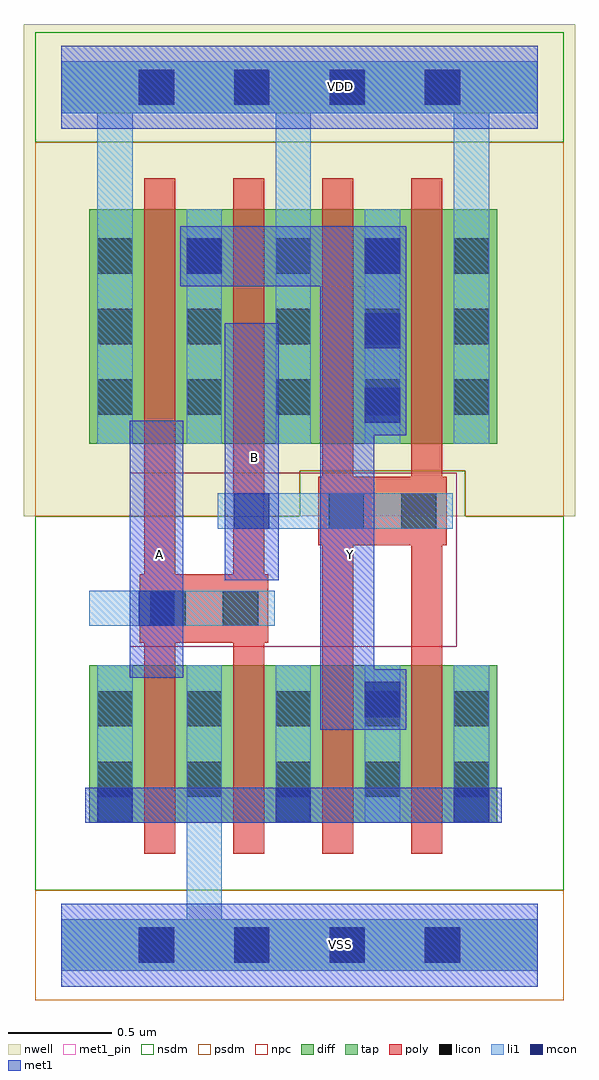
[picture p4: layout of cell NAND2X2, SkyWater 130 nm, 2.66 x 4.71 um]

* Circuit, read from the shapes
.subckt NAND2X2 A B VDD VSS Y
XM1 VSS A n1 VSS sky130_fd_pr__nfet_01v8 w=0.76 l=0.15 m=2
XM2 Y B n1 VSS sky130_fd_pr__nfet_01v8 w=0.76 l=0.15 m=2
XM3 Y A VDD VDD sky130_fd_pr__pfet_01v8 w=1.13 l=0.15 m=2
XM4 Y B VDD VDD sky130_fd_pr__pfet_01v8 w=1.13 l=0.15 m=2
.ends

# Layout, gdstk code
from math import pi, radians
import gdstk
lib = gdstk.Library(unit=1e-6, precision=1e-09)
def R(c, l, rs):  # rectangles x0, y0, x1, y1
    for r in rs: c.add(gdstk.rectangle(r[:2], r[2:], *l))
def A(c, l, x, y, w, h, nx, ny, dx, dy):  # array of equal rectangles
    R(c, l, [(x+i*dx, y+j*dy, x+i*dx+w, y+j*dy+h) for i in range(nx) for j in range(ny)])
def P(c, l, *ps):  # polygons
    for p in ps: c.add(gdstk.Polygon(p, *l))
nwell = (64, 20)
diff = (65, 20)
tap = (65, 44)
poly = (66, 20)
licon = (66, 44)
li1 = (67, 20)
mcon = (67, 44)
met1_pin = (68, 16)
met1 = (68, 20)
nsdm = (93, 44)
psdm = (94, 20)
npc = (95, 20)

nfet_01v8_cdns_716492285 = lib.new_cell('nfet_01v8_CDNS_71649228522125')
R(nfet_01v8_cdns_716492285, diff, [(-0.055,0,0,0.76), (0,0,0.15,0.76), (0.15,0,0.43,0.76), (0.43,0,0.58,0.76), (0.58,0,0.845,0.76)])
R(nfet_01v8_cdns_716492285, poly, [(0,-0.15,0.15,-0.095), (0.43,-0.15,0.58,-0.095), (0,-0.095,0.15,0), (0.43,-0.095,0.58,0), (0,0,0.15,0.76), (0.43,0,0.58,0.76), (0,0.76,0.15,0.855), (0.43,0.76,0.58,0.855), (0,0.855,0.15,0.91), (0.43,0.855,0.58,0.91)])
R(nfet_01v8_cdns_716492285, licon, [(0.205,0.125,0.375,0.295), (0.635,0.125,0.805,0.295), (0.205,0.465,0.375,0.635), (0.635,0.465,0.805,0.635)])
R(nfet_01v8_cdns_716492285, li1, [(0.205,0,0.375,0.76), (0.635,0,0.805,0.76)])
R(nfet_01v8_cdns_716492285, nsdm, [(-0.065,-0.13,0.985,0.89)])

pfet_01v8_cdns_716492285 = lib.new_cell('pfet_01v8_CDNS_71649228522138')
R(pfet_01v8_cdns_716492285, nwell, [(-0.445,-0.18,0.815,1.31)])
R(pfet_01v8_cdns_716492285, diff, [(-0.265,0,0,1.13), (0,0,0.15,1.13), (0.15,0,0.43,1.13), (0.43,0,0.58,1.13), (0.58,0,0.635,1.13)])
R(pfet_01v8_cdns_716492285, poly, [(0,-0.15,0.15,-0.095), (0.43,-0.15,0.58,-0.095), (0,-0.095,0.15,0), (0.43,-0.095,0.58,0), (0,0,0.15,1.13), (0.43,0,0.58,1.13), (0,1.13,0.15,1.225), (0.43,1.13,0.58,1.225), (0,1.225,0.15,1.28), (0.43,1.225,0.58,1.28)])
A(pfet_01v8_cdns_716492285, licon, -0.225, 0.14, 0.17, 0.17, 1, 3, 0, 0.34)
A(pfet_01v8_cdns_716492285, licon, 0.205, 0.14, 0.17, 0.17, 1, 3, 0, 0.34)
R(pfet_01v8_cdns_716492285, li1, [(-0.225,0,-0.055,1.13), (0.205,0,0.375,1.13)])
R(pfet_01v8_cdns_716492285, psdm, [(-0.405,-0.13,0.645,1.26)])

c_pfet_01v8_cdns_716492285 = lib.new_cell('pfet_01v8_CDNS_71649228522141')
R(c_pfet_01v8_cdns_716492285, nwell, [(-0.405,-0.18,1.025,1.31)])
R(c_pfet_01v8_cdns_716492285, diff, [(-0.225,0,0,1.13), (0,0,0.15,1.13), (0.15,0,0.43,1.13), (0.43,0,0.58,1.13), (0.58,0,0.845,1.13)])
R(c_pfet_01v8_cdns_716492285, poly, [(0,-0.15,0.15,-0.095), (0.43,-0.15,0.58,-0.095), (0,-0.095,0.15,0), (0.43,-0.095,0.58,0), (0,0,0.15,1.13), (0.43,0,0.58,1.13), (0,1.13,0.15,1.225), (0.43,1.13,0.58,1.225), (0,1.225,0.15,1.28), (0.43,1.225,0.58,1.28)])
A(c_pfet_01v8_cdns_716492285, licon, -0.225, 0.14, 0.17, 0.17, 3, 3, 0.43, 0.34)
A(c_pfet_01v8_cdns_716492285, li1, -0.225, 0, 0.17, 1.13, 3, 1, 0.43, 0)
R(c_pfet_01v8_cdns_716492285, psdm, [(-0.235,-0.13,0.985,1.26)])

c_nfet_01v8_cdns_716492285 = lib.new_cell('nfet_01v8_CDNS_71649228522124')
R(c_nfet_01v8_cdns_716492285, diff, [(-0.265,0,0,0.76), (0,0,0.15,0.76), (0.15,0,0.43,0.76), (0.43,0,0.58,0.76), (0.58,0,0.805,0.76)])
R(c_nfet_01v8_cdns_716492285, poly, [(0,-0.15,0.15,-0.095), (0.43,-0.15,0.58,-0.095), (0,-0.095,0.15,0), (0.43,-0.095,0.58,0), (0,0,0.15,0.76), (0.43,0,0.58,0.76), (0,0.76,0.15,0.855), (0.43,0.76,0.58,0.855), (0,0.855,0.15,0.91), (0.43,0.855,0.58,0.91)])
A(c_nfet_01v8_cdns_716492285, licon, -0.225, 0.125, 0.17, 0.17, 3, 2, 0.43, 0.34)
A(c_nfet_01v8_cdns_716492285, li1, -0.225, 0, 0.17, 0.76, 3, 1, 0.43, 0)
R(c_nfet_01v8_cdns_716492285, nsdm, [(-0.405,-0.13,0.815,0.89)])

l1m1_c_cdns_716492285223 = lib.new_cell('L1M1_C_CDNS_716492285223')
R(l1m1_c_cdns_716492285223, li1, [(-0.165,-0.085,0.165,0.085)])
R(l1m1_c_cdns_716492285223, mcon, [(-0.085,-0.085,0.085,0.085)])
R(l1m1_c_cdns_716492285223, met1, [(-0.115,-0.145,0.115,0.145)])

l1m1_c_cdns_716492285224 = lib.new_cell('L1M1_C_CDNS_716492285224')
R(l1m1_c_cdns_716492285224, li1, [(-0.085,-0.525,0.085,0.525)])
A(l1m1_c_cdns_716492285224, mcon, -0.085, -0.445, 0.17, 0.17, 1, 3, 0, 0.36)
R(l1m1_c_cdns_716492285224, met1, [(-0.115,-0.505,0.115,0.505)])

l1m1_c_cdns_716492285222 = lib.new_cell('L1M1_C_CDNS_716492285222')
R(l1m1_c_cdns_716492285222, li1, [(-0.085,-0.165,0.085,0.165)])
R(l1m1_c_cdns_716492285222, mcon, [(-0.085,-0.085,0.085,0.085)])
R(l1m1_c_cdns_716492285222, met1, [(-0.115,-0.145,0.115,0.145)])

c_l1m1_c_cdns_716492285222 = lib.new_cell('L1M1_C_CDNS_7164922852228')
R(c_l1m1_c_cdns_716492285222, li1, [(-0.085,-0.085,0.085,0.165)])
R(c_l1m1_c_cdns_716492285222, mcon, [(-0.085,-0.085,0.085,0.085)])
R(c_l1m1_c_cdns_716492285222, met1, [(-0.115,-0.085,0.115,0.085)])

pyl1con_c_cdns_716492285 = lib.new_cell('PYL1CON_C_CDNS_716492285220')
R(pyl1con_c_cdns_716492285, poly, [(-0.135,-0.165,0.135,0.165)])
R(pyl1con_c_cdns_716492285, licon, [(-0.085,-0.085,0.085,0.085)])
R(pyl1con_c_cdns_716492285, npc, [(-0.185,-0.185,0.185,0.185)])

c_l1m1_c_cdns_716492285222_ = lib.new_cell('L1M1_C_CDNS_7164922852229')
R(c_l1m1_c_cdns_716492285222_, li1, [(-0.085,-0.085,0.085,0.165)])
R(c_l1m1_c_cdns_716492285222_, mcon, [(-0.085,-0.085,0.085,0.085)])
R(c_l1m1_c_cdns_716492285222_, met1, [(-0.115,-0.085,0.145,0.085)])

c_l1m1_c_cdns_716492285223 = lib.new_cell('L1M1_C_CDNS_7164922852230')
R(c_l1m1_c_cdns_716492285223, li1, [(-0.085,-0.085,0.085,0.165)])
R(c_l1m1_c_cdns_716492285223, mcon, [(-0.085,-0.085,0.085,0.085)])
R(c_l1m1_c_cdns_716492285223, met1, [(-0.145,-0.085,0.115,0.085)])

nand2x2 = lib.new_cell('NAND2X2')
R(nand2x2, nwell, [(-0.18,2.07,2.48,4.305), (-0.18,3.875,2.48,4.445)])
A(nand2x2, licon, 0.375, -0.085, 0.17, 0.17, 4, 2, 0.46, 4.14)
A(nand2x2, mcon, 0.375, -0.085, 0.17, 0.17, 4, 2, 0.46, 4.14)
R(nand2x2, met1_pin, [(1.25,1.04,1.51,3.18), (0.33,1.29,0.59,2.53), (0.79,1.76,1.05,3)])
R(nand2x2, nsdm, [(-0.125,3.875,2.425,4.405), (-0.125,3.93,2.425,4.35)])
P(nand2x2, nsdm, [(2.425,2.07),(1.95,2.07),(1.95,2.29),(1.15,2.29),(1.15,2.07),(-0.125,2.07),(-0.125,0.265),(2.425,0.265)])
R(nand2x2, psdm, [(-0.125,-0.265,2.425,0.265), (-0.125,-0.21,2.425,0.21)])
P(nand2x2, psdm, [(2.425,3.875),(-0.125,3.875),(-0.125,2.07),(1.15,2.07),(1.15,2.29),(1.95,2.29),(1.95,2.07),(2.425,2.07)])
R(nand2x2, npc, [(0.33,1.44,1.91,2.28)])
nand2x2.add(gdstk.FlexPath([(0.995,2.095),(1.54,2.095)], 0.17, ends="flush", simple_path=True, layer=67, datatype=20))  # li1
nand2x2.add(gdstk.FlexPath([(1.54,2.095),(1.89,2.095)], 0.17, ends="flush", simple_path=True, layer=67, datatype=20))  # li1
nand2x2.add(gdstk.FlexPath([(0.135,1.625),(0.68,1.625)], 0.17, ends="flush", simple_path=True, layer=67, datatype=20))  # li1
nand2x2.add(gdstk.FlexPath([(0.68,1.625),(1.03,1.625)], 0.17, ends="flush", simple_path=True, layer=67, datatype=20))  # li1
nand2x2.add(gdstk.FlexPath([(0.69,0.59),(0.69,0)], 0.17, ends="flush", simple_path=True, layer=67, datatype=20))  # li1
nand2x2.add(gdstk.FlexPath([(0.26,4.14),(1.12,4.14)], 0.25, ends=(0.085, 0.085), simple_path=True, layer=67, datatype=20))  # li1
nand2x2.add(gdstk.FlexPath([(0,4.14),(0.26,4.14)], 0.25, ends=(0, 0.085), simple_path=True, layer=67, datatype=20))  # li1
nand2x2.add(gdstk.FlexPath([(1.12,4.14),(1.98,4.14)], 0.25, ends=(0.085, 0.085), simple_path=True, layer=67, datatype=20))  # li1
nand2x2.add(gdstk.FlexPath([(1.98,0),(2.3,0)], 0.25, ends=(0.085, 0), simple_path=True, layer=67, datatype=20))  # li1
nand2x2.add(gdstk.FlexPath([(0.26,4.14),(0.215,4.14)], 0.17, ends=(0.085, 0), simple_path=True, layer=67, datatype=20))  # li1
nand2x2.add(gdstk.FlexPath([(1.12,4.14),(0.26,4.14)], 0.17, ends="extended", simple_path=True, layer=67, datatype=20))  # li1
nand2x2.add(gdstk.FlexPath([(0.26,0),(1.12,0)], 0.25, ends=(0.085, 0.085), simple_path=True, layer=67, datatype=20))  # li1
nand2x2.add(gdstk.FlexPath([(1.12,0),(1.98,0)], 0.25, ends=(0.085, 0.085), simple_path=True, layer=67, datatype=20))  # li1
nand2x2.add(gdstk.FlexPath([(0,0),(0.26,0)], 0.25, ends=(0, 0.085), simple_path=True, layer=67, datatype=20))  # li1
nand2x2.add(gdstk.FlexPath([(1.98,4.14),(1.12,4.14)], 0.17, ends="extended", simple_path=True, layer=67, datatype=20))  # li1
nand2x2.add(gdstk.FlexPath([(1.98,3.55),(1.98,4.14)], 0.17, ends=(0, 0.125), simple_path=True, layer=67, datatype=20))  # li1
nand2x2.add(gdstk.FlexPath([(1.12,3.55),(1.12,4.14)], 0.17, ends=(0, 0.125), simple_path=True, layer=67, datatype=20))  # li1
nand2x2.add(gdstk.FlexPath([(0.26,3.55),(0.26,4.14)], 0.17, ends=(0, 0.125), simple_path=True, layer=67, datatype=20))  # li1
nand2x2.add(gdstk.FlexPath([(1.98,4.14),(2.3,4.14)], 0.25, ends=(0.085, 0), simple_path=True, layer=67, datatype=20))  # li1
nand2x2.add(gdstk.FlexPath([(1.375,2.095),(1.725,2.095)], 0.33, ends="flush", simple_path=True, layer=66, datatype=20))  # poly
nand2x2.add(gdstk.FlexPath([(0.475,2.27),(0.475,1.39)], 0.15, ends="flush", simple_path=True, layer=66, datatype=20))  # poly
nand2x2.add(gdstk.FlexPath([(0.905,2.27),(0.905,1.39)], 0.15, ends="flush", simple_path=True, layer=66, datatype=20))  # poly
nand2x2.add(gdstk.FlexPath([(1.335,2.27),(1.335,1.375)], 0.15, ends="flush", simple_path=True, layer=66, datatype=20))  # poly
nand2x2.add(gdstk.FlexPath([(1.765,2.27),(1.765,1.355)], 0.15, ends="flush", simple_path=True, layer=66, datatype=20))  # poly
nand2x2.add(gdstk.FlexPath([(0.515,1.625),(0.865,1.625)], 0.33, ends="flush", simple_path=True, layer=66, datatype=20))  # poly
nand2x2.add(gdstk.FlexPath([(1.38,1.04),(1.38,3.18)], 0.26, ends="flush", simple_path=True, layer=68, datatype=20))  # met1
nand2x2.add(gdstk.FlexPath([(0.92,1.76),(0.92,3)], 0.26, ends="flush", simple_path=True, layer=68, datatype=20))  # met1
nand2x2.add(gdstk.FlexPath([(0.46,1.29),(0.46,2.53)], 0.26, ends="flush", simple_path=True, layer=68, datatype=20))  # met1
nand2x2.add(gdstk.FlexPath([(0.69,3.325),(1.435,3.325)], 0.29, ends="flush", simple_path=True, layer=68, datatype=20))  # met1
nand2x2.add(gdstk.FlexPath([(0.26,0.675),(1.98,0.675)], 0.17, ends="flush", simple_path=True, layer=68, datatype=20))  # met1
nand2x2.add(gdstk.FlexPath([(0,4.14),(2.3,4.14)], 0.4, ends="flush", simple_path=True, layer=68, datatype=20))  # met1
nand2x2.add(gdstk.FlexPath([(0,0),(2.3,0)], 0.4, ends="flush", simple_path=True, layer=68, datatype=20))  # met1
nand2x2.add(gdstk.FlexPath([(0,4.14),(2.3,4.14)], 0.25, ends="flush", simple_path=True, layer=65, datatype=44))  # tap
nand2x2.add(gdstk.FlexPath([(0,0),(2.3,0)], 0.25, ends="flush", simple_path=True, layer=65, datatype=44))  # tap
nand2x2.add(gdstk.FlexPath([(0,0),(2.3,0)], 0.4, ends="flush", simple_path=True, layer=68, datatype=16))  # met1_pin
nand2x2.add(gdstk.FlexPath([(0,4.14),(2.3,4.14)], 0.4, ends="flush", simple_path=True, layer=68, datatype=16))  # met1_pin
nand2x2.add(gdstk.Reference(nfet_01v8_cdns_716492285, (1.26,0.59)))
nand2x2.add(gdstk.Reference(pfet_01v8_cdns_716492285, (0.4,2.42)))
nand2x2.add(gdstk.Reference(c_pfet_01v8_cdns_716492285, (1.26,2.42)))
nand2x2.add(gdstk.Reference(c_nfet_01v8_cdns_716492285, (0.4,0.59)))
nand2x2.add(gdstk.Reference(l1m1_c_cdns_716492285223, (0.92,2.095), x_reflection=True))
nand2x2.add(gdstk.Reference(l1m1_c_cdns_716492285223, (0.46,1.625), x_reflection=True))
nand2x2.add(gdstk.Reference(l1m1_c_cdns_716492285224, (1.55,2.965)))
nand2x2.add(gdstk.Reference(l1m1_c_cdns_716492285222, (0.69,3.325)))
nand2x2.add(gdstk.Reference(l1m1_c_cdns_716492285222, (1.55,1.185)))
nand2x2.add(gdstk.Reference(c_l1m1_c_cdns_716492285222, (1.12,0.675)))
nand2x2.add(gdstk.Reference(pyl1con_c_cdns_716492285, (1.375,2.095), rotation=pi, x_reflection=True))
nand2x2.add(gdstk.Reference(pyl1con_c_cdns_716492285, (1.725,2.095), rotation=pi, x_reflection=True))
nand2x2.add(gdstk.Reference(pyl1con_c_cdns_716492285, (0.515,1.625), rotation=pi, x_reflection=True))
nand2x2.add(gdstk.Reference(pyl1con_c_cdns_716492285, (0.865,1.625), rotation=pi, x_reflection=True))
nand2x2.add(gdstk.Reference(c_l1m1_c_cdns_716492285222_, (1.98,0.675)))
nand2x2.add(gdstk.Reference(c_l1m1_c_cdns_716492285223, (0.26,0.675)))
nand2x2.add(gdstk.Label('B', (0.935,2.355), layer=68, texttype=5))
nand2x2.add(gdstk.Label('Y', (1.395,1.885), layer=68, texttype=5))
nand2x2.add(gdstk.Label('VDD', (1.35,4.145), layer=68, texttype=5))
nand2x2.add(gdstk.Label('VSS', (1.35,0.005), layer=68, texttype=5))
nand2x2.add(gdstk.Label('A', (0.475,1.885), layer=68, texttype=5))

lib.write_gds('NAND2X2.gds')
